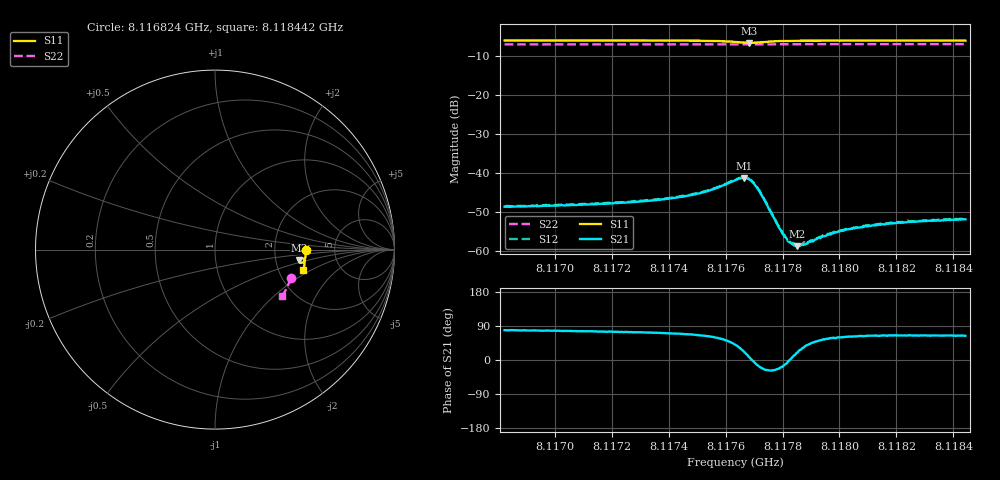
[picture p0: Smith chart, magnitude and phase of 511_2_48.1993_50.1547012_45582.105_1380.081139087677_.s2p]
#  HZ  S  RI  R  50.00
! Rohde & Schwarz Vector Network Analyzer
! Rohde-Schwarz,ZNB20-2Port,1311601062101988,3.16
! Created: UTC 3/20/2024, 11:58:58 AM
! freq[Hz]  re:S11  im:S11  re:S21  im:S21  re:S12  im:S12  re:S22  im:S22
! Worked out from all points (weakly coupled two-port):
!   401 points, 8.116824 GHz to 8.118442 GHz, reference 50 ohm
!   highest |S21| = -41.18 dB at 8.117666 GHz (marker M1); lowest = -58.7 dB at 8.117852 GHz (marker M2)
!   lowest |S11| = -6.5 dB at 8.117682 GHz (marker M3), VSWR 2.78, Z = 135 - j21 ohm
!   |S11| at or under -10 dB: nowhere
!   |S22| runs from -6.9 to -6.8 dB; largest |S21 - S12| = 0.00021
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8.1168242e9  0.5069 -0.00233  0.00073 0.00366  0.000758 0.00375  0.4227 -0.1568
8.1170952e9  0.5057 -0.0235  0.000944 0.00382  0.00103 0.00394  0.4165 -0.1746
8.1172408e9  0.5045 -0.0354  0.00118 0.00404  0.00122 0.0041  0.4128 -0.1841
8.1173662e9  0.5029 -0.0463  0.00145 0.00436  0.00152 0.00438  0.4094 -0.1922
8.1174714e9  0.5004 -0.0565  0.00198 0.0048  0.00204 0.00485  0.4064 -0.1991
8.117524e9  0.4979 -0.0625  0.00251 0.00518  0.00262 0.00524  0.4049 -0.2024
8.1175765e9  0.4928 -0.0691  0.00357 0.00559  0.00366 0.00571  0.4031 -0.2059
8.1176332e9  0.4803 -0.0738  0.00616 0.00531  0.00632 0.00539  0.4009 -0.2094
8.1176655e9  0.4696 -0.0677  0.00814 0.00317  0.00831 0.0032  0.3996 -0.2109
8.1176817e9  0.4672 -0.0603  0.00828 0.00125  0.00845 0.00125  0.3992 -0.2115
8.1176979e9  0.4696 -0.0525  0.00749 -0.00055  0.00764 -0.00065  0.3988 -0.2121
8.1177181e9  0.477 -0.0472  0.00565 -0.00176  0.00579 -0.00185  0.3987 -0.2132
8.1177909e9  0.4948 -0.0546  0.0018 -0.000687  0.00183 -0.000743  0.3973 -0.2181
8.1178111e9  0.4963 -0.0579  0.00149 -0.000279  0.00146 -0.000273  0.3965 -0.2195
8.1178273e9  0.4973 -0.0602  0.0013 2.56e-05  0.0013 1.62e-05  0.396 -0.2205
8.1178516e9  0.4982 -0.0636  0.0011 0.000379  0.00113 0.000398  0.3954 -0.2222
8.1178799e9  0.4987 -0.0672  0.000983 0.00074  0.00102 0.000717  0.3945 -0.2241
8.1179042e9  0.4988 -0.07  0.000939 0.000947  0.000955 0.000971  0.3937 -0.2256
8.1179487e9  0.4988 -0.0746  0.000915 0.00127  0.000941 0.0013  0.3922 -0.2283
8.1180255e9  0.4982 -0.0819  0.000916 0.00168  0.000893 0.00173  0.3897 -0.2332
8.1181752e9  0.4963 -0.0946  0.000971 0.00205  0.000984 0.00208  0.3847 -0.2425
8.1184422e9  0.4919 -0.1153  0.00114 0.00231  0.00117 0.00236  0.375 -0.2584
